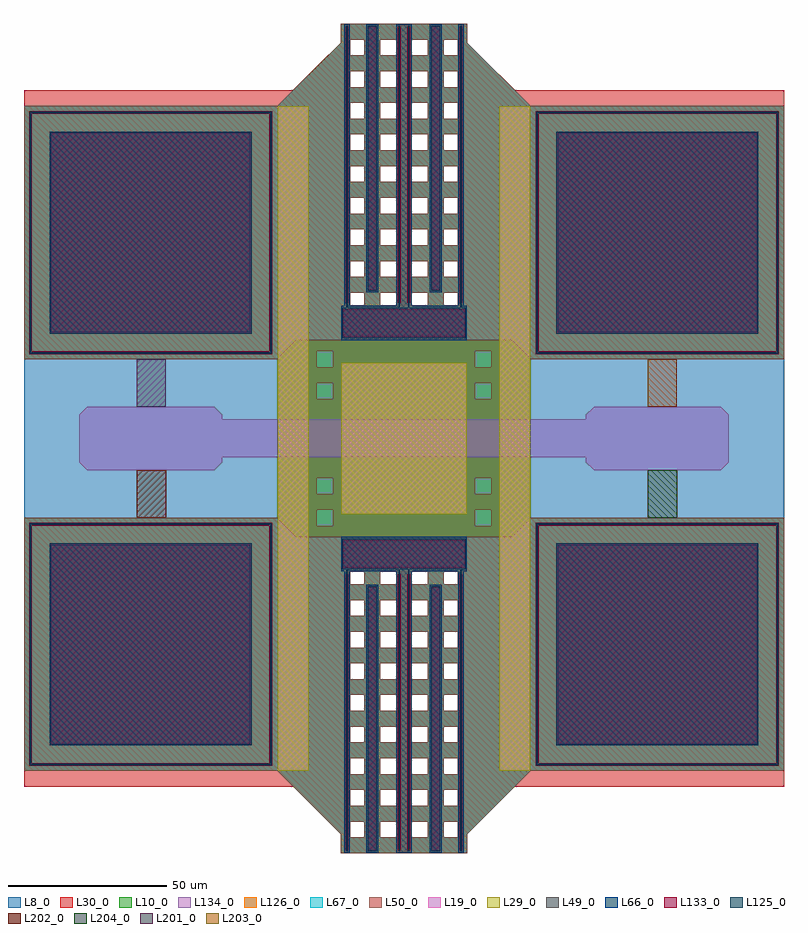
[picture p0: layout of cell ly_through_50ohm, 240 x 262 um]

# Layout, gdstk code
import gdstk
lib = gdstk.Library(unit=1e-6, precision=1e-09)
def R(c, l, rs):  # rectangles x0, y0, x1, y1
    for r in rs: c.add(gdstk.rectangle(r[:2], r[2:], *l))
def P(c, l, *ps):  # polygons
    for p in ps: c.add(gdstk.Polygon(p, *l))
L8_0 = (8, 0)
L10_0 = (10, 0)
L19_0 = (19, 0)
L29_0 = (29, 0)
L30_0 = (30, 0)
L49_0 = (49, 0)
L50_0 = (50, 0)
L66_0 = (66, 0)
L67_0 = (67, 0)
L125_0 = (125, 0)
L126_0 = (126, 0)
L133_0 = (133, 0)
L134_0 = (134, 0)
L201_0 = (201, 0)
L202_0 = (202, 0)
L203_0 = (203, 0)
L204_0 = (204, 0)

ly_through_50ohm = lib.new_cell('ly_through_50ohm')
P(ly_through_50ohm, L8_0, [(60,-131),(60,-125),(40,-105),(-40,-105),(-40,105),(40,105),(60,125),(60,131),(63,131),(63,-126),(67.5,-126),(67.5,-121),(63,-121),(63,-116),(67.5,-116),(67.5,-111),(63,-111),(63,-106),(67.5,-106),(67.5,-101),(63,-101),(63,-96),(67.5,-96),(67.5,-91),(63,-91),(63,-86),(67.5,-86),(67.5,-81),(63,-81),(63,-76),(67.5,-76),(67.5,-71),(63,-71),(63,-66),(67.5,-66),(67.5,-61),(63,-61),(63,-56),(67.5,-56),(67.5,-51),(63,-51),(63,-46),(67.5,-46),(67.5,-42),(63,-42),(63,42),(67.5,42),(67.5,46),(63,46),(63,51),(67.5,51),(67.5,56),(63,56),(63,61),(67.5,61),(67.5,66),(63,66),(63,71),(67.5,71),(67.5,76),(63,76),(63,81),(67.5,81),(67.5,86),(63,86),(63,91),(67.5,91),(67.5,96),(63,96),(63,101),(67.5,101),(67.5,106),(63,106),(63,111),(67.5,111),(67.5,116),(63,116),(63,121),(67.5,121),(67.5,126),(63,126),(63,131),(72.5,131),(72.5,-126),(77.5,-126),(77.5,-121),(72.5,-121),(72.5,-116),(77.5,-116),(77.5,-111),(72.5,-111),(72.5,-106),(77.5,-106),(77.5,-101),(72.5,-101),(72.5,-96),(77.5,-96),(77.5,-91),(72.5,-91),(72.5,-86),(77.5,-86),(77.5,-81),(72.5,-81),(72.5,-76),(77.5,-76),(77.5,-71),(72.5,-71),(72.5,-66),(77.5,-66),(77.5,-61),(72.5,-61),(72.5,-56),(77.5,-56),(77.5,-51),(72.5,-51),(72.5,-46),(77.5,-46),(77.5,-42),(72.5,-42),(72.5,42),(77.5,42),(77.5,46),(72.5,46),(72.5,51),(77.5,51),(77.5,56),(72.5,56),(72.5,61),(77.5,61),(77.5,66),(72.5,66),(72.5,71),(77.5,71),(77.5,76),(72.5,76),(72.5,81),(77.5,81),(77.5,86),(72.5,86),(72.5,91),(77.5,91),(77.5,96),(72.5,96),(72.5,101),(77.5,101),(77.5,106),(72.5,106),(72.5,111),(77.5,111),(77.5,116),(72.5,116),(72.5,121),(77.5,121),(77.5,126),(72.5,126),(72.5,131),(82.5,131),(82.5,-126),(87.5,-126),(87.5,-121),(82.5,-121),(82.5,-116),(87.5,-116),(87.5,-111),(82.5,-111),(82.5,-106),(87.5,-106),(87.5,-101),(82.5,-101),(82.5,-96),(87.5,-96),(87.5,-91),(82.5,-91),(82.5,-86),(87.5,-86),(87.5,-81),(82.5,-81),(82.5,-76),(87.5,-76),(87.5,-71),(82.5,-71),(82.5,-66),(87.5,-66),(87.5,-61),(82.5,-61),(82.5,-56),(87.5,-56),(87.5,-51),(82.5,-51),(82.5,-46),(87.5,-46),(87.5,-42),(82.5,-42),(82.5,42),(87.5,42),(87.5,46),(82.5,46),(82.5,51),(87.5,51),(87.5,56),(82.5,56),(82.5,61),(87.5,61),(87.5,66),(82.5,66),(82.5,71),(87.5,71),(87.5,76),(82.5,76),(82.5,81),(87.5,81),(87.5,86),(82.5,86),(82.5,91),(87.5,91),(87.5,96),(82.5,96),(82.5,101),(87.5,101),(87.5,106),(82.5,106),(82.5,111),(87.5,111),(87.5,116),(82.5,116),(82.5,121),(87.5,121),(87.5,126),(82.5,126),(82.5,131),(92.5,131),(92.5,-126),(97,-126),(97,-121),(92.5,-121),(92.5,-116),(97,-116),(97,-111),(92.5,-111),(92.5,-106),(97,-106),(97,-101),(92.5,-101),(92.5,-96),(97,-96),(97,-91),(92.5,-91),(92.5,-86),(97,-86),(97,-81),(92.5,-81),(92.5,-76),(97,-76),(97,-71),(92.5,-71),(92.5,-66),(97,-66),(97,-61),(92.5,-61),(92.5,-56),(97,-56),(97,-51),(92.5,-51),(92.5,-46),(97,-46),(97,-42),(92.5,-42),(92.5,42),(97,42),(97,46),(92.5,46),(92.5,51),(97,51),(97,56),(92.5,56),(92.5,61),(97,61),(97,66),(92.5,66),(92.5,71),(97,71),(97,76),(92.5,76),(92.5,81),(97,81),(97,86),(92.5,86),(92.5,91),(97,91),(97,96),(92.5,96),(92.5,101),(97,101),(97,106),(92.5,106),(92.5,111),(97,111),(97,116),(92.5,116),(92.5,121),(97,121),(97,126),(92.5,126),(92.5,131),(100,131),(100,125),(120,105),(200,105),(200,-105),(120,-105),(100,-125),(100,-131)])
P(ly_through_50ohm, L10_0, [(60,-131),(60,-125),(40,-105),(-40,-105),(-40,-25),(40,-25),(40,25),(-40,25),(-40,105),(40,105),(60,125),(60,131),(63,131),(63,-126),(67.5,-126),(67.5,-121),(63,-121),(63,-116),(67.5,-116),(67.5,-111),(63,-111),(63,-106),(67.5,-106),(67.5,-101),(63,-101),(63,-96),(67.5,-96),(67.5,-91),(63,-91),(63,-86),(67.5,-86),(67.5,-81),(63,-81),(63,-76),(67.5,-76),(67.5,-71),(63,-71),(63,-66),(67.5,-66),(67.5,-61),(63,-61),(63,-56),(67.5,-56),(67.5,-51),(63,-51),(63,-46),(67.5,-46),(67.5,-42),(63,-42),(63,42),(67.5,42),(67.5,46),(63,46),(63,51),(67.5,51),(67.5,56),(63,56),(63,61),(67.5,61),(67.5,66),(63,66),(63,71),(67.5,71),(67.5,76),(63,76),(63,81),(67.5,81),(67.5,86),(63,86),(63,91),(67.5,91),(67.5,96),(63,96),(63,101),(67.5,101),(67.5,106),(63,106),(63,111),(67.5,111),(67.5,116),(63,116),(63,121),(67.5,121),(67.5,126),(63,126),(63,131),(72.5,131),(72.5,-126),(77.5,-126),(77.5,-121),(72.5,-121),(72.5,-116),(77.5,-116),(77.5,-111),(72.5,-111),(72.5,-106),(77.5,-106),(77.5,-101),(72.5,-101),(72.5,-96),(77.5,-96),(77.5,-91),(72.5,-91),(72.5,-86),(77.5,-86),(77.5,-81),(72.5,-81),(72.5,-76),(77.5,-76),(77.5,-71),(72.5,-71),(72.5,-66),(77.5,-66),(77.5,-61),(72.5,-61),(72.5,-56),(77.5,-56),(77.5,-51),(72.5,-51),(72.5,-46),(77.5,-46),(77.5,-42),(72.5,-42),(72.5,42),(77.5,42),(77.5,46),(72.5,46),(72.5,51),(77.5,51),(77.5,56),(72.5,56),(72.5,61),(77.5,61),(77.5,66),(72.5,66),(72.5,71),(77.5,71),(77.5,76),(72.5,76),(72.5,81),(77.5,81),(77.5,86),(72.5,86),(72.5,91),(77.5,91),(77.5,96),(72.5,96),(72.5,101),(77.5,101),(77.5,106),(72.5,106),(72.5,111),(77.5,111),(77.5,116),(72.5,116),(72.5,121),(77.5,121),(77.5,126),(72.5,126),(72.5,131),(82.5,131),(82.5,-126),(87.5,-126),(87.5,-121),(82.5,-121),(82.5,-116),(87.5,-116),(87.5,-111),(82.5,-111),(82.5,-106),(87.5,-106),(87.5,-101),(82.5,-101),(82.5,-96),(87.5,-96),(87.5,-91),(82.5,-91),(82.5,-86),(87.5,-86),(87.5,-81),(82.5,-81),(82.5,-76),(87.5,-76),(87.5,-71),(82.5,-71),(82.5,-66),(87.5,-66),(87.5,-61),(82.5,-61),(82.5,-56),(87.5,-56),(87.5,-51),(82.5,-51),(82.5,-46),(87.5,-46),(87.5,-42),(82.5,-42),(82.5,42),(87.5,42),(87.5,46),(82.5,46),(82.5,51),(87.5,51),(87.5,56),(82.5,56),(82.5,61),(87.5,61),(87.5,66),(82.5,66),(82.5,71),(87.5,71),(87.5,76),(82.5,76),(82.5,81),(87.5,81),(87.5,86),(82.5,86),(82.5,91),(87.5,91),(87.5,96),(82.5,96),(82.5,101),(87.5,101),(87.5,106),(82.5,106),(82.5,111),(87.5,111),(87.5,116),(82.5,116),(82.5,121),(87.5,121),(87.5,126),(82.5,126),(82.5,131),(92.5,131),(92.5,-126),(97,-126),(97,-121),(92.5,-121),(92.5,-116),(97,-116),(97,-111),(92.5,-111),(92.5,-106),(97,-106),(97,-101),(92.5,-101),(92.5,-96),(97,-96),(97,-91),(92.5,-91),(92.5,-86),(97,-86),(97,-81),(92.5,-81),(92.5,-76),(97,-76),(97,-71),(92.5,-71),(92.5,-66),(97,-66),(97,-61),(92.5,-61),(92.5,-56),(97,-56),(97,-51),(92.5,-51),(92.5,-46),(97,-46),(97,-42),(92.5,-42),(92.5,42),(97,42),(97,46),(92.5,46),(92.5,51),(97,51),(97,56),(92.5,56),(92.5,61),(97,61),(97,66),(92.5,66),(92.5,71),(97,71),(97,76),(92.5,76),(92.5,81),(97,81),(97,86),(92.5,86),(92.5,91),(97,91),(97,96),(92.5,96),(92.5,101),(97,101),(97,106),(92.5,106),(92.5,111),(97,111),(97,116),(92.5,116),(92.5,121),(97,121),(97,126),(92.5,126),(92.5,131),(100,131),(100,125),(120,105),(200,105),(200,25),(120,25),(120,-25),(200,-25),(200,-105),(120,-105),(100,-125),(100,-131)])
R(ly_through_50ohm, L19_0, [(68.06,-130.845,71.94,-46.155), (88.06,-130.845,91.94,-46.155), (40.155,-104.85,49.845,104.85), (110.155,-104.85,119.845,104.85), (-31.93,-96.93,31.93,-33.07), (128.07,-96.93,191.93,-33.07), (60.155,-23.875,99.845,23.875), (-31.93,33.07,31.93,96.93), (128.07,33.07,191.93,96.93), (68.06,46.155,71.94,130.845), (88.06,46.155,91.94,130.845)])
P(ly_through_50ohm, L19_0, [(121.94,26.94),(121.94,103.06),(122.13,103.06),(122.13,27.13),(197.87,27.13),(197.87,102.87),(122.13,102.87),(122.13,103.06),(198.06,103.06),(198.06,26.94)],
  [(121.94,-103.06),(121.94,-26.94),(122.13,-26.94),(122.13,-102.87),(197.87,-102.87),(197.87,-27.13),(122.13,-27.13),(122.13,-26.94),(198.06,-26.94),(198.06,-103.06)],
  [(60.155,31.075),(60.155,41.925),(61.085,41.925),(61.085,130.845),(62.915,130.845),(62.915,41.925),(77.585,41.925),(77.585,130.845),(82.415,130.845),(82.415,41.925),(97.085,41.925),(97.085,130.845),(98.915,130.845),(98.915,41.925),(99.845,41.925),(99.845,31.075)],
  [(61.085,-130.845),(61.085,-41.925),(60.155,-41.925),(60.155,-31.075),(99.845,-31.075),(99.845,-41.925),(98.915,-41.925),(98.915,-130.845),(97.085,-130.845),(97.085,-41.925),(82.415,-41.925),(82.415,-130.845),(77.585,-130.845),(77.585,-41.925),(62.915,-41.925),(62.915,-130.845)],
  [(-38.06,26.94),(-38.06,103.06),(-37.87,103.06),(-37.87,27.13),(37.87,27.13),(37.87,102.87),(-37.87,102.87),(-37.87,103.06),(38.06,103.06),(38.06,26.94)],
  [(-38.06,-103.06),(-38.06,-26.94),(-37.87,-26.94),(-37.87,-102.87),(37.87,-102.87),(37.87,-27.13),(-37.87,-27.13),(-37.87,-26.94),(38.06,-26.94),(38.06,-103.06)])
R(ly_through_50ohm, L29_0, [(68.06,-130.845,71.94,-46.155), (88.06,-130.845,91.94,-46.155), (40.155,-104.85,49.845,104.85), (110.155,-104.85,119.845,104.85), (-31.49,-96.49,31.49,-33.51), (128.51,-96.49,191.49,-33.51), (60.155,-23.875,99.845,23.875), (-31.49,33.51,31.49,96.49), (128.51,33.51,191.49,96.49), (68.06,46.155,71.94,130.845), (88.06,46.155,91.94,130.845)])
P(ly_through_50ohm, L29_0, [(121.94,26.94),(121.94,103.06),(122.13,103.06),(122.13,27.13),(197.87,27.13),(197.87,102.87),(122.13,102.87),(122.13,103.06),(198.06,103.06),(198.06,26.94)],
  [(121.94,-103.06),(121.94,-26.94),(122.13,-26.94),(122.13,-102.87),(197.87,-102.87),(197.87,-27.13),(122.13,-27.13),(122.13,-26.94),(198.06,-26.94),(198.06,-103.06)],
  [(60.155,31.075),(60.155,41.925),(61.085,41.925),(61.085,130.845),(62.915,130.845),(62.915,41.925),(77.585,41.925),(77.585,130.845),(82.415,130.845),(82.415,41.925),(97.085,41.925),(97.085,130.845),(98.915,130.845),(98.915,41.925),(99.845,41.925),(99.845,31.075)],
  [(61.085,-130.845),(61.085,-41.925),(60.155,-41.925),(60.155,-31.075),(99.845,-31.075),(99.845,-41.925),(98.915,-41.925),(98.915,-130.845),(97.085,-130.845),(97.085,-41.925),(82.415,-41.925),(82.415,-130.845),(77.585,-130.845),(77.585,-41.925),(62.915,-41.925),(62.915,-130.845)],
  [(-38.06,26.94),(-38.06,103.06),(-37.87,103.06),(-37.87,27.13),(37.87,27.13),(37.87,102.87),(-37.87,102.87),(-37.87,103.06),(38.06,103.06),(38.06,26.94)],
  [(-38.06,-103.06),(-38.06,-26.94),(-37.87,-26.94),(-37.87,-102.87),(37.87,-102.87),(37.87,-27.13),(-37.87,-27.13),(-37.87,-26.94),(38.06,-26.94),(38.06,-103.06)])
P(ly_through_50ohm, L30_0, [(60,-131),(60,-125),(45,-110),(-40,-110),(-40,-25),(40,-25),(40,25),(-40,25),(-40,110),(45,110),(52.5,117.5),(52.5,-27.5),(57.5,-27.5),(57.5,-22.5),(52.5,-22.5),(52.5,-17.5),(57.5,-17.5),(57.5,-12.5),(52.5,-12.5),(52.5,12.5),(57.5,12.5),(57.5,17.5),(52.5,17.5),(52.5,22.5),(57.5,22.5),(57.5,27.5),(52.5,27.5),(52.5,117.5),(60,125),(60,131),(63,131),(63,-126),(67.5,-126),(67.5,-121),(63,-121),(63,-116),(67.5,-116),(67.5,-111),(63,-111),(63,-106),(67.5,-106),(67.5,-101),(63,-101),(63,-96),(67.5,-96),(67.5,-91),(63,-91),(63,-86),(67.5,-86),(67.5,-81),(63,-81),(63,-76),(67.5,-76),(67.5,-71),(63,-71),(63,-66),(67.5,-66),(67.5,-61),(63,-61),(63,-56),(67.5,-56),(67.5,-51),(63,-51),(63,-46),(67.5,-46),(67.5,-42),(63,-42),(63,42),(67.5,42),(67.5,46),(63,46),(63,51),(67.5,51),(67.5,56),(63,56),(63,61),(67.5,61),(67.5,66),(63,66),(63,71),(67.5,71),(67.5,76),(63,76),(63,81),(67.5,81),(67.5,86),(63,86),(63,91),(67.5,91),(67.5,96),(63,96),(63,101),(67.5,101),(67.5,106),(63,106),(63,111),(67.5,111),(67.5,116),(63,116),(63,121),(67.5,121),(67.5,126),(63,126),(63,131),(72.5,131),(72.5,-126),(77.5,-126),(77.5,-121),(72.5,-121),(72.5,-116),(77.5,-116),(77.5,-111),(72.5,-111),(72.5,-106),(77.5,-106),(77.5,-101),(72.5,-101),(72.5,-96),(77.5,-96),(77.5,-91),(72.5,-91),(72.5,-86),(77.5,-86),(77.5,-81),(72.5,-81),(72.5,-76),(77.5,-76),(77.5,-71),(72.5,-71),(72.5,-66),(77.5,-66),(77.5,-61),(72.5,-61),(72.5,-56),(77.5,-56),(77.5,-51),(72.5,-51),(72.5,-46),(77.5,-46),(77.5,-42),(72.5,-42),(72.5,42),(77.5,42),(77.5,46),(72.5,46),(72.5,51),(77.5,51),(77.5,56),(72.5,56),(72.5,61),(77.5,61),(77.5,66),(72.5,66),(72.5,71),(77.5,71),(77.5,76),(72.5,76),(72.5,81),(77.5,81),(77.5,86),(72.5,86),(72.5,91),(77.5,91),(77.5,96),(72.5,96),(72.5,101),(77.5,101),(77.5,106),(72.5,106),(72.5,111),(77.5,111),(77.5,116),(72.5,116),(72.5,121),(77.5,121),(77.5,126),(72.5,126),(72.5,131),(82.5,131),(82.5,-126),(87.5,-126),(87.5,-121),(82.5,-121),(82.5,-116),(87.5,-116),(87.5,-111),(82.5,-111),(82.5,-106),(87.5,-106),(87.5,-101),(82.5,-101),(82.5,-96),(87.5,-96),(87.5,-91),(82.5,-91),(82.5,-86),(87.5,-86),(87.5,-81),(82.5,-81),(82.5,-76),(87.5,-76),(87.5,-71),(82.5,-71),(82.5,-66),(87.5,-66),(87.5,-61),(82.5,-61),(82.5,-56),(87.5,-56),(87.5,-51),(82.5,-51),(82.5,-46),(87.5,-46),(87.5,-42),(82.5,-42),(82.5,42),(87.5,42),(87.5,46),(82.5,46),(82.5,51),(87.5,51),(87.5,56),(82.5,56),(82.5,61),(87.5,61),(87.5,66),(82.5,66),(82.5,71),(87.5,71),(87.5,76),(82.5,76),(82.5,81),(87.5,81),(87.5,86),(82.5,86),(82.5,91),(87.5,91),(87.5,96),(82.5,96),(82.5,101),(87.5,101),(87.5,106),(82.5,106),(82.5,111),(87.5,111),(87.5,116),(82.5,116),(82.5,121),(87.5,121),(87.5,126),(82.5,126),(82.5,131),(92.5,131),(92.5,-126),(97,-126),(97,-121),(92.5,-121),(92.5,-116),(97,-116),(97,-111),(92.5,-111),(92.5,-106),(97,-106),(97,-101),(92.5,-101),(92.5,-96),(97,-96),(97,-91),(92.5,-91),(92.5,-86),(97,-86),(97,-81),(92.5,-81),(92.5,-76),(97,-76),(97,-71),(92.5,-71),(92.5,-66),(97,-66),(97,-61),(92.5,-61),(92.5,-56),(97,-56),(97,-51),(92.5,-51),(92.5,-46),(97,-46),(97,-42),(92.5,-42),(92.5,42),(97,42),(97,46),(92.5,46),(92.5,51),(97,51),(97,56),(92.5,56),(92.5,61),(97,61),(97,66),(92.5,66),(92.5,71),(97,71),(97,76),(92.5,76),(92.5,81),(97,81),(97,86),(92.5,86),(92.5,91),(97,91),(97,96),(92.5,96),(92.5,101),(97,101),(97,106),(92.5,106),(92.5,111),(97,111),(97,116),(92.5,116),(92.5,121),(97,121),(97,126),(92.5,126),(92.5,131),(100,131),(100,125),(102.5,122.5),(102.5,-27.5),(107.5,-27.5),(107.5,-22.5),(102.5,-22.5),(102.5,-17.5),(107.5,-17.5),(107.5,-12.5),(102.5,-12.5),(102.5,12.5),(107.5,12.5),(107.5,17.5),(102.5,17.5),(102.5,22.5),(107.5,22.5),(107.5,27.5),(102.5,27.5),(102.5,122.5),(115,110),(200,110),(200,25),(120,25),(120,-25),(200,-25),(200,-110),(115,-110),(100,-125),(100,-131)])
R(ly_through_50ohm, L49_0, [(68.06,-130.845,71.94,-46.155), (88.06,-130.845,91.94,-46.155), (-31.93,-96.93,31.93,-33.07), (128.07,-96.93,191.93,-33.07), (-31.93,33.07,31.93,96.93), (128.07,33.07,191.93,96.93), (68.06,46.155,71.94,130.845), (88.06,46.155,91.94,130.845)])
P(ly_through_50ohm, L49_0, [(121.94,26.94),(121.94,103.06),(122.13,103.06),(122.13,27.13),(197.87,27.13),(197.87,102.87),(122.13,102.87),(122.13,103.06),(198.06,103.06),(198.06,26.94)],
  [(121.94,-103.06),(121.94,-26.94),(122.13,-26.94),(122.13,-102.87),(197.87,-102.87),(197.87,-27.13),(122.13,-27.13),(122.13,-26.94),(198.06,-26.94),(198.06,-103.06)],
  [(60.155,31.075),(60.155,41.925),(61.085,41.925),(61.085,130.845),(62.915,130.845),(62.915,41.925),(77.585,41.925),(77.585,130.845),(82.415,130.845),(82.415,41.925),(97.085,41.925),(97.085,130.845),(98.915,130.845),(98.915,41.925),(99.845,41.925),(99.845,31.075)],
  [(61.085,-130.845),(61.085,-41.925),(60.155,-41.925),(60.155,-31.075),(99.845,-31.075),(99.845,-41.925),(98.915,-41.925),(98.915,-130.845),(97.085,-130.845),(97.085,-41.925),(82.415,-41.925),(82.415,-130.845),(77.585,-130.845),(77.585,-41.925),(62.915,-41.925),(62.915,-130.845)],
  [(-38.06,26.94),(-38.06,103.06),(-37.87,103.06),(-37.87,27.13),(37.87,27.13),(37.87,102.87),(-37.87,102.87),(-37.87,103.06),(38.06,103.06),(38.06,26.94)],
  [(-38.06,-103.06),(-38.06,-26.94),(-37.87,-26.94),(-37.87,-102.87),(37.87,-102.87),(37.87,-27.13),(-37.87,-27.13),(-37.87,-26.94),(38.06,-26.94),(38.06,-103.06)])
P(ly_through_50ohm, L50_0, [(-40,25),(-40,105),(40,105),(60,125),(60,131),(63,131),(63,42),(67.5,42),(67.5,46),(63,46),(63,51),(67.5,51),(67.5,56),(63,56),(63,61),(67.5,61),(67.5,66),(63,66),(63,71),(67.5,71),(67.5,76),(63,76),(63,81),(67.5,81),(67.5,86),(63,86),(63,91),(67.5,91),(67.5,96),(63,96),(63,101),(67.5,101),(67.5,106),(63,106),(63,111),(67.5,111),(67.5,116),(63,116),(63,121),(67.5,121),(67.5,126),(63,126),(63,131),(72.5,131),(72.5,42),(77.5,42),(77.5,46),(72.5,46),(72.5,51),(77.5,51),(77.5,56),(72.5,56),(72.5,61),(77.5,61),(77.5,66),(72.5,66),(72.5,71),(77.5,71),(77.5,76),(72.5,76),(72.5,81),(77.5,81),(77.5,86),(72.5,86),(72.5,91),(77.5,91),(77.5,96),(72.5,96),(72.5,101),(77.5,101),(77.5,106),(72.5,106),(72.5,111),(77.5,111),(77.5,116),(72.5,116),(72.5,121),(77.5,121),(77.5,126),(72.5,126),(72.5,131),(82.5,131),(82.5,42),(87.5,42),(87.5,46),(82.5,46),(82.5,51),(87.5,51),(87.5,56),(82.5,56),(82.5,61),(87.5,61),(87.5,66),(82.5,66),(82.5,71),(87.5,71),(87.5,76),(82.5,76),(82.5,81),(87.5,81),(87.5,86),(82.5,86),(82.5,91),(87.5,91),(87.5,96),(82.5,96),(82.5,101),(87.5,101),(87.5,106),(82.5,106),(82.5,111),(87.5,111),(87.5,116),(82.5,116),(82.5,121),(87.5,121),(87.5,126),(82.5,126),(82.5,131),(92.5,131),(92.5,42),(97,42),(97,46),(92.5,46),(92.5,51),(97,51),(97,56),(92.5,56),(92.5,61),(97,61),(97,66),(92.5,66),(92.5,71),(97,71),(97,76),(92.5,76),(92.5,81),(97,81),(97,86),(92.5,86),(92.5,91),(97,91),(97,96),(92.5,96),(92.5,101),(97,101),(97,106),(92.5,106),(92.5,111),(97,111),(97,116),(92.5,116),(92.5,121),(97,121),(97,126),(92.5,126),(92.5,131),(100,131),(100,125),(120,105),(200,105),(200,25),(120,25),(114,31),(46,31),(40,25)],
  [(60,-131),(60,-125),(40,-105),(-40,-105),(-40,-25),(40,-25),(46,-31),(63,-31),(63,-126),(67.5,-126),(67.5,-121),(63,-121),(63,-116),(67.5,-116),(67.5,-111),(63,-111),(63,-106),(67.5,-106),(67.5,-101),(63,-101),(63,-96),(67.5,-96),(67.5,-91),(63,-91),(63,-86),(67.5,-86),(67.5,-81),(63,-81),(63,-76),(67.5,-76),(67.5,-71),(63,-71),(63,-66),(67.5,-66),(67.5,-61),(63,-61),(63,-56),(67.5,-56),(67.5,-51),(63,-51),(63,-46),(67.5,-46),(67.5,-42),(63,-42),(63,-31),(72.5,-31),(72.5,-126),(77.5,-126),(77.5,-121),(72.5,-121),(72.5,-116),(77.5,-116),(77.5,-111),(72.5,-111),(72.5,-106),(77.5,-106),(77.5,-101),(72.5,-101),(72.5,-96),(77.5,-96),(77.5,-91),(72.5,-91),(72.5,-86),(77.5,-86),(77.5,-81),(72.5,-81),(72.5,-76),(77.5,-76),(77.5,-71),(72.5,-71),(72.5,-66),(77.5,-66),(77.5,-61),(72.5,-61),(72.5,-56),(77.5,-56),(77.5,-51),(72.5,-51),(72.5,-46),(77.5,-46),(77.5,-42),(72.5,-42),(72.5,-31),(82.5,-31),(82.5,-126),(87.5,-126),(87.5,-121),(82.5,-121),(82.5,-116),(87.5,-116),(87.5,-111),(82.5,-111),(82.5,-106),(87.5,-106),(87.5,-101),(82.5,-101),(82.5,-96),(87.5,-96),(87.5,-91),(82.5,-91),(82.5,-86),(87.5,-86),(87.5,-81),(82.5,-81),(82.5,-76),(87.5,-76),(87.5,-71),(82.5,-71),(82.5,-66),(87.5,-66),(87.5,-61),(82.5,-61),(82.5,-56),(87.5,-56),(87.5,-51),(82.5,-51),(82.5,-46),(87.5,-46),(87.5,-42),(82.5,-42),(82.5,-31),(92.5,-31),(92.5,-126),(97,-126),(97,-121),(92.5,-121),(92.5,-116),(97,-116),(97,-111),(92.5,-111),(92.5,-106),(97,-106),(97,-101),(92.5,-101),(92.5,-96),(97,-96),(97,-91),(92.5,-91),(92.5,-86),(97,-86),(97,-81),(92.5,-81),(92.5,-76),(97,-76),(97,-71),(92.5,-71),(92.5,-66),(97,-66),(97,-61),(92.5,-61),(92.5,-56),(97,-56),(97,-51),(92.5,-51),(92.5,-46),(97,-46),(97,-42),(92.5,-42),(92.5,-31),(114,-31),(120,-25),(200,-25),(200,-105),(120,-105),(100,-125),(100,-131)])
R(ly_through_50ohm, L66_0, [(68.06,-130.845,71.94,-46.155), (88.06,-130.845,91.94,-46.155), (-31.49,-96.49,31.49,-33.51), (128.51,-96.49,191.49,-33.51), (-31.49,33.51,31.49,96.49), (128.51,33.51,191.49,96.49), (68.06,46.155,71.94,130.845), (88.06,46.155,91.94,130.845)])
P(ly_through_50ohm, L66_0, [(121.94,26.94),(121.94,103.06),(122.13,103.06),(122.13,27.13),(197.87,27.13),(197.87,102.87),(122.13,102.87),(122.13,103.06),(198.06,103.06),(198.06,26.94)],
  [(121.94,-103.06),(121.94,-26.94),(122.13,-26.94),(122.13,-102.87),(197.87,-102.87),(197.87,-27.13),(122.13,-27.13),(122.13,-26.94),(198.06,-26.94),(198.06,-103.06)],
  [(60.155,31.075),(60.155,41.925),(61.085,41.925),(61.085,130.845),(62.915,130.845),(62.915,41.925),(77.585,41.925),(77.585,130.845),(82.415,130.845),(82.415,41.925),(97.085,41.925),(97.085,130.845),(98.915,130.845),(98.915,41.925),(99.845,41.925),(99.845,31.075)],
  [(61.085,-130.845),(61.085,-41.925),(60.155,-41.925),(60.155,-31.075),(99.845,-31.075),(99.845,-41.925),(98.915,-41.925),(98.915,-130.845),(97.085,-130.845),(97.085,-41.925),(82.415,-41.925),(82.415,-130.845),(77.585,-130.845),(77.585,-41.925),(62.915,-41.925),(62.915,-130.845)],
  [(-38.06,26.94),(-38.06,103.06),(-37.87,103.06),(-37.87,27.13),(37.87,27.13),(37.87,102.87),(-37.87,102.87),(-37.87,103.06),(38.06,103.06),(38.06,26.94)],
  [(-38.06,-103.06),(-38.06,-26.94),(-37.87,-26.94),(-37.87,-102.87),(37.87,-102.87),(37.87,-27.13),(-37.87,-27.13),(-37.87,-26.94),(38.06,-26.94),(38.06,-103.06)])
P(ly_through_50ohm, L67_0, [(-40,25),(-40,105),(40,105),(60,125),(60,131),(63,131),(63,42),(67.5,42),(67.5,46),(63,46),(63,51),(67.5,51),(67.5,56),(63,56),(63,61),(67.5,61),(67.5,66),(63,66),(63,71),(67.5,71),(67.5,76),(63,76),(63,81),(67.5,81),(67.5,86),(63,86),(63,91),(67.5,91),(67.5,96),(63,96),(63,101),(67.5,101),(67.5,106),(63,106),(63,111),(67.5,111),(67.5,116),(63,116),(63,121),(67.5,121),(67.5,126),(63,126),(63,131),(72.5,131),(72.5,42),(77.5,42),(77.5,46),(72.5,46),(72.5,51),(77.5,51),(77.5,56),(72.5,56),(72.5,61),(77.5,61),(77.5,66),(72.5,66),(72.5,71),(77.5,71),(77.5,76),(72.5,76),(72.5,81),(77.5,81),(77.5,86),(72.5,86),(72.5,91),(77.5,91),(77.5,96),(72.5,96),(72.5,101),(77.5,101),(77.5,106),(72.5,106),(72.5,111),(77.5,111),(77.5,116),(72.5,116),(72.5,121),(77.5,121),(77.5,126),(72.5,126),(72.5,131),(82.5,131),(82.5,42),(87.5,42),(87.5,46),(82.5,46),(82.5,51),(87.5,51),(87.5,56),(82.5,56),(82.5,61),(87.5,61),(87.5,66),(82.5,66),(82.5,71),(87.5,71),(87.5,76),(82.5,76),(82.5,81),(87.5,81),(87.5,86),(82.5,86),(82.5,91),(87.5,91),(87.5,96),(82.5,96),(82.5,101),(87.5,101),(87.5,106),(82.5,106),(82.5,111),(87.5,111),(87.5,116),(82.5,116),(82.5,121),(87.5,121),(87.5,126),(82.5,126),(82.5,131),(92.5,131),(92.5,42),(97,42),(97,46),(92.5,46),(92.5,51),(97,51),(97,56),(92.5,56),(92.5,61),(97,61),(97,66),(92.5,66),(92.5,71),(97,71),(97,76),(92.5,76),(92.5,81),(97,81),(97,86),(92.5,86),(92.5,91),(97,91),(97,96),(92.5,96),(92.5,101),(97,101),(97,106),(92.5,106),(92.5,111),(97,111),(97,116),(92.5,116),(92.5,121),(97,121),(97,126),(92.5,126),(92.5,131),(100,131),(100,125),(120,105),(200,105),(200,25),(120,25),(114,31),(46,31),(40,25)],
  [(60,-131),(60,-125),(40,-105),(-40,-105),(-40,-25),(40,-25),(46,-31),(63,-31),(63,-126),(67.5,-126),(67.5,-121),(63,-121),(63,-116),(67.5,-116),(67.5,-111),(63,-111),(63,-106),(67.5,-106),(67.5,-101),(63,-101),(63,-96),(67.5,-96),(67.5,-91),(63,-91),(63,-86),(67.5,-86),(67.5,-81),(63,-81),(63,-76),(67.5,-76),(67.5,-71),(63,-71),(63,-66),(67.5,-66),(67.5,-61),(63,-61),(63,-56),(67.5,-56),(67.5,-51),(63,-51),(63,-46),(67.5,-46),(67.5,-42),(63,-42),(63,-31),(72.5,-31),(72.5,-126),(77.5,-126),(77.5,-121),(72.5,-121),(72.5,-116),(77.5,-116),(77.5,-111),(72.5,-111),(72.5,-106),(77.5,-106),(77.5,-101),(72.5,-101),(72.5,-96),(77.5,-96),(77.5,-91),(72.5,-91),(72.5,-86),(77.5,-86),(77.5,-81),(72.5,-81),(72.5,-76),(77.5,-76),(77.5,-71),(72.5,-71),(72.5,-66),(77.5,-66),(77.5,-61),(72.5,-61),(72.5,-56),(77.5,-56),(77.5,-51),(72.5,-51),(72.5,-46),(77.5,-46),(77.5,-42),(72.5,-42),(72.5,-31),(82.5,-31),(82.5,-126),(87.5,-126),(87.5,-121),(82.5,-121),(82.5,-116),(87.5,-116),(87.5,-111),(82.5,-111),(82.5,-106),(87.5,-106),(87.5,-101),(82.5,-101),(82.5,-96),(87.5,-96),(87.5,-91),(82.5,-91),(82.5,-86),(87.5,-86),(87.5,-81),(82.5,-81),(82.5,-76),(87.5,-76),(87.5,-71),(82.5,-71),(82.5,-66),(87.5,-66),(87.5,-61),(82.5,-61),(82.5,-56),(87.5,-56),(87.5,-51),(82.5,-51),(82.5,-46),(87.5,-46),(87.5,-42),(82.5,-42),(82.5,-31),(92.5,-31),(92.5,-126),(97,-126),(97,-121),(92.5,-121),(92.5,-116),(97,-116),(97,-111),(92.5,-111),(92.5,-106),(97,-106),(97,-101),(92.5,-101),(92.5,-96),(97,-96),(97,-91),(92.5,-91),(92.5,-86),(97,-86),(97,-81),(92.5,-81),(92.5,-76),(97,-76),(97,-71),(92.5,-71),(92.5,-66),(97,-66),(97,-61),(92.5,-61),(92.5,-56),(97,-56),(97,-51),(92.5,-51),(92.5,-46),(97,-46),(97,-42),(92.5,-42),(92.5,-31),(114,-31),(120,-25),(200,-25),(200,-105),(120,-105),(100,-125),(100,-131)])
R(ly_through_50ohm, L125_0, [(68.53,-130.29,71.47,-46.71), (88.53,-130.29,91.47,-46.71), (-31.93,-96.93,31.93,-33.07), (128.07,-96.93,191.93,-33.07), (-31.93,33.07,31.93,96.93), (128.07,33.07,191.93,96.93), (68.53,46.71,71.47,130.29), (88.53,46.71,91.47,130.29)])
P(ly_through_50ohm, L125_0, [(121.825,26.825),(121.825,103.175),(122.245,103.175),(122.245,27.245),(197.755,27.245),(197.755,102.755),(122.245,102.755),(122.245,103.175),(198.175,103.175),(198.175,26.825)],
  [(121.825,-103.175),(121.825,-26.825),(122.245,-26.825),(122.245,-102.755),(197.755,-102.755),(197.755,-27.245),(122.245,-27.245),(122.245,-26.825),(198.175,-26.825),(198.175,-103.175)],
  [(60.55,31.67),(60.55,41.33),(61.79,41.33),(61.79,130.39),(62.21,130.39),(62.21,41.33),(78.29,41.33),(78.29,130.39),(78.71,130.39),(78.71,41.33),(81.29,41.33),(81.29,130.39),(81.71,130.39),(81.71,41.33),(97.79,41.33),(97.79,130.39),(98.21,130.39),(98.21,41.33),(99.45,41.33),(99.45,31.67)],
  [(61.79,-130.39),(61.79,-41.33),(60.55,-41.33),(60.55,-31.67),(99.45,-31.67),(99.45,-41.33),(98.21,-41.33),(98.21,-130.39),(97.79,-130.39),(97.79,-41.33),(81.71,-41.33),(81.71,-130.39),(81.29,-130.39),(81.29,-41.33),(78.71,-41.33),(78.71,-130.39),(78.29,-130.39),(78.29,-41.33),(62.21,-41.33),(62.21,-130.39)],
  [(-38.175,26.825),(-38.175,103.175),(-37.755,103.175),(-37.755,27.245),(37.755,27.245),(37.755,102.755),(-37.755,102.755),(-37.755,103.175),(38.175,103.175),(38.175,26.825)],
  [(-38.175,-103.175),(-38.175,-26.825),(-37.755,-26.825),(-37.755,-102.755),(37.755,-102.755),(37.755,-27.245),(-37.755,-27.245),(-37.755,-26.825),(38.175,-26.825),(38.175,-103.175)])
P(ly_through_50ohm, L126_0, [(-40,25),(-40,105),(40,105),(60,125),(60,131),(63,131),(63,42),(67.5,42),(67.5,46),(63,46),(63,51),(67.5,51),(67.5,56),(63,56),(63,61),(67.5,61),(67.5,66),(63,66),(63,71),(67.5,71),(67.5,76),(63,76),(63,81),(67.5,81),(67.5,86),(63,86),(63,91),(67.5,91),(67.5,96),(63,96),(63,101),(67.5,101),(67.5,106),(63,106),(63,111),(67.5,111),(67.5,116),(63,116),(63,121),(67.5,121),(67.5,126),(63,126),(63,131),(72.5,131),(72.5,42),(77.5,42),(77.5,46),(72.5,46),(72.5,51),(77.5,51),(77.5,56),(72.5,56),(72.5,61),(77.5,61),(77.5,66),(72.5,66),(72.5,71),(77.5,71),(77.5,76),(72.5,76),(72.5,81),(77.5,81),(77.5,86),(72.5,86),(72.5,91),(77.5,91),(77.5,96),(72.5,96),(72.5,101),(77.5,101),(77.5,106),(72.5,106),(72.5,111),(77.5,111),(77.5,116),(72.5,116),(72.5,121),(77.5,121),(77.5,126),(72.5,126),(72.5,131),(82.5,131),(82.5,42),(87.5,42),(87.5,46),(82.5,46),(82.5,51),(87.5,51),(87.5,56),(82.5,56),(82.5,61),(87.5,61),(87.5,66),(82.5,66),(82.5,71),(87.5,71),(87.5,76),(82.5,76),(82.5,81),(87.5,81),(87.5,86),(82.5,86),(82.5,91),(87.5,91),(87.5,96),(82.5,96),(82.5,101),(87.5,101),(87.5,106),(82.5,106),(82.5,111),(87.5,111),(87.5,116),(82.5,116),(82.5,121),(87.5,121),(87.5,126),(82.5,126),(82.5,131),(92.5,131),(92.5,42),(97,42),(97,46),(92.5,46),(92.5,51),(97,51),(97,56),(92.5,56),(92.5,61),(97,61),(97,66),(92.5,66),(92.5,71),(97,71),(97,76),(92.5,76),(92.5,81),(97,81),(97,86),(92.5,86),(92.5,91),(97,91),(97,96),(92.5,96),(92.5,101),(97,101),(97,106),(92.5,106),(92.5,111),(97,111),(97,116),(92.5,116),(92.5,121),(97,121),(97,126),(92.5,126),(92.5,131),(100,131),(100,125),(120,105),(200,105),(200,25),(120,25),(114,31),(46,31),(40,25)],
  [(60,-131),(60,-125),(40,-105),(-40,-105),(-40,-25),(40,-25),(46,-31),(63,-31),(63,-126),(67.5,-126),(67.5,-121),(63,-121),(63,-116),(67.5,-116),(67.5,-111),(63,-111),(63,-106),(67.5,-106),(67.5,-101),(63,-101),(63,-96),(67.5,-96),(67.5,-91),(63,-91),(63,-86),(67.5,-86),(67.5,-81),(63,-81),(63,-76),(67.5,-76),(67.5,-71),(63,-71),(63,-66),(67.5,-66),(67.5,-61),(63,-61),(63,-56),(67.5,-56),(67.5,-51),(63,-51),(63,-46),(67.5,-46),(67.5,-42),(63,-42),(63,-31),(72.5,-31),(72.5,-126),(77.5,-126),(77.5,-121),(72.5,-121),(72.5,-116),(77.5,-116),(77.5,-111),(72.5,-111),(72.5,-106),(77.5,-106),(77.5,-101),(72.5,-101),(72.5,-96),(77.5,-96),(77.5,-91),(72.5,-91),(72.5,-86),(77.5,-86),(77.5,-81),(72.5,-81),(72.5,-76),(77.5,-76),(77.5,-71),(72.5,-71),(72.5,-66),(77.5,-66),(77.5,-61),(72.5,-61),(72.5,-56),(77.5,-56),(77.5,-51),(72.5,-51),(72.5,-46),(77.5,-46),(77.5,-42),(72.5,-42),(72.5,-31),(82.5,-31),(82.5,-126),(87.5,-126),(87.5,-121),(82.5,-121),(82.5,-116),(87.5,-116),(87.5,-111),(82.5,-111),(82.5,-106),(87.5,-106),(87.5,-101),(82.5,-101),(82.5,-96),(87.5,-96),(87.5,-91),(82.5,-91),(82.5,-86),(87.5,-86),(87.5,-81),(82.5,-81),(82.5,-76),(87.5,-76),(87.5,-71),(82.5,-71),(82.5,-66),(87.5,-66),(87.5,-61),(82.5,-61),(82.5,-56),(87.5,-56),(87.5,-51),(82.5,-51),(82.5,-46),(87.5,-46),(87.5,-42),(82.5,-42),(82.5,-31),(92.5,-31),(92.5,-126),(97,-126),(97,-121),(92.5,-121),(92.5,-116),(97,-116),(97,-111),(92.5,-111),(92.5,-106),(97,-106),(97,-101),(92.5,-101),(92.5,-96),(97,-96),(97,-91),(92.5,-91),(92.5,-86),(97,-86),(97,-81),(92.5,-81),(92.5,-76),(97,-76),(97,-71),(92.5,-71),(92.5,-66),(97,-66),(97,-61),(92.5,-61),(92.5,-56),(97,-56),(97,-51),(92.5,-51),(92.5,-46),(97,-46),(97,-42),(92.5,-42),(92.5,-31),(114,-31),(120,-25),(200,-25),(200,-105),(120,-105),(100,-125),(100,-131)])
R(ly_through_50ohm, L133_0, [(68.57,-130.11,71.43,-46.89), (88.57,-130.11,91.43,-46.89), (61.55,-130.07,62.45,-42.93), (78.05,-130.07,78.95,-42.93), (81.05,-130.07,81.95,-42.93), (97.55,-130.07,98.45,-42.93), (-31.93,-96.93,31.93,-33.07), (128.07,-96.93,191.93,-33.07), (60.73,-40.87,99.27,-32.13), (60.73,32.13,99.27,40.87), (-31.93,33.07,31.93,96.93), (128.07,33.07,191.93,96.93), (61.55,42.93,62.45,130.07), (78.05,42.93,78.95,130.07), (81.05,42.93,81.95,130.07), (97.55,42.93,98.45,130.07), (68.57,46.89,71.43,130.11), (88.57,46.89,91.43,130.11)])
P(ly_through_50ohm, L133_0, [(121.585,26.585),(121.585,103.415),(122.485,103.415),(122.485,27.485),(197.515,27.485),(197.515,102.515),(122.485,102.515),(122.485,103.415),(198.415,103.415),(198.415,26.585)],
  [(121.585,-103.415),(121.585,-26.585),(122.485,-26.585),(122.485,-102.515),(197.515,-102.515),(197.515,-27.485),(122.485,-27.485),(122.485,-26.585),(198.415,-26.585),(198.415,-103.415)],
  [(-38.415,26.585),(-38.415,103.415),(-37.515,103.415),(-37.515,27.485),(37.515,27.485),(37.515,102.515),(-37.515,102.515),(-37.515,103.415),(38.415,103.415),(38.415,26.585)],
  [(-38.415,-103.415),(-38.415,-26.585),(-37.515,-26.585),(-37.515,-102.515),(37.515,-102.515),(37.515,-27.485),(-37.515,-27.485),(-37.515,-26.585),(38.415,-26.585),(38.415,-103.415)])
P(ly_through_50ohm, L134_0, [(-20,-10.005),(-22.57,-7.435),(-22.57,7.435),(-20,10.005),(20,10.005),(22.57,7.435),(22.57,6),(137.43,6),(137.43,7.435),(140,10.005),(180,10.005),(182.57,7.435),(182.57,-7.435),(180,-10.005),(140,-10.005),(137.43,-7.435),(137.43,-6),(22.57,-6),(22.57,-7.435),(20,-10.005)],
  [(-40,25),(-40,105),(40,105),(60,125),(60,131),(63,131),(63,42),(67.5,42),(67.5,46),(63,46),(63,51),(67.5,51),(67.5,56),(63,56),(63,61),(67.5,61),(67.5,66),(63,66),(63,71),(67.5,71),(67.5,76),(63,76),(63,81),(67.5,81),(67.5,86),(63,86),(63,91),(67.5,91),(67.5,96),(63,96),(63,101),(67.5,101),(67.5,106),(63,106),(63,111),(67.5,111),(67.5,116),(63,116),(63,121),(67.5,121),(67.5,126),(63,126),(63,131),(72.5,131),(72.5,42),(77.5,42),(77.5,46),(72.5,46),(72.5,51),(77.5,51),(77.5,56),(72.5,56),(72.5,61),(77.5,61),(77.5,66),(72.5,66),(72.5,71),(77.5,71),(77.5,76),(72.5,76),(72.5,81),(77.5,81),(77.5,86),(72.5,86),(72.5,91),(77.5,91),(77.5,96),(72.5,96),(72.5,101),(77.5,101),(77.5,106),(72.5,106),(72.5,111),(77.5,111),(77.5,116),(72.5,116),(72.5,121),(77.5,121),(77.5,126),(72.5,126),(72.5,131),(82.5,131),(82.5,42),(87.5,42),(87.5,46),(82.5,46),(82.5,51),(87.5,51),(87.5,56),(82.5,56),(82.5,61),(87.5,61),(87.5,66),(82.5,66),(82.5,71),(87.5,71),(87.5,76),(82.5,76),(82.5,81),(87.5,81),(87.5,86),(82.5,86),(82.5,91),(87.5,91),(87.5,96),(82.5,96),(82.5,101),(87.5,101),(87.5,106),(82.5,106),(82.5,111),(87.5,111),(87.5,116),(82.5,116),(82.5,121),(87.5,121),(87.5,126),(82.5,126),(82.5,131),(92.5,131),(92.5,42),(97,42),(97,46),(92.5,46),(92.5,51),(97,51),(97,56),(92.5,56),(92.5,61),(97,61),(97,66),(92.5,66),(92.5,71),(97,71),(97,76),(92.5,76),(92.5,81),(97,81),(97,86),(92.5,86),(92.5,91),(97,91),(97,96),(92.5,96),(92.5,101),(97,101),(97,106),(92.5,106),(92.5,111),(97,111),(97,116),(92.5,116),(92.5,121),(97,121),(97,126),(92.5,126),(92.5,131),(100,131),(100,125),(120,105),(200,105),(200,25),(120,25),(114,31),(46,31),(40,25)],
  [(60,-131),(60,-125),(40,-105),(-40,-105),(-40,-25),(40,-25),(46,-31),(63,-31),(63,-126),(67.5,-126),(67.5,-121),(63,-121),(63,-116),(67.5,-116),(67.5,-111),(63,-111),(63,-106),(67.5,-106),(67.5,-101),(63,-101),(63,-96),(67.5,-96),(67.5,-91),(63,-91),(63,-86),(67.5,-86),(67.5,-81),(63,-81),(63,-76),(67.5,-76),(67.5,-71),(63,-71),(63,-66),(67.5,-66),(67.5,-61),(63,-61),(63,-56),(67.5,-56),(67.5,-51),(63,-51),(63,-46),(67.5,-46),(67.5,-42),(63,-42),(63,-31),(72.5,-31),(72.5,-126),(77.5,-126),(77.5,-121),(72.5,-121),(72.5,-116),(77.5,-116),(77.5,-111),(72.5,-111),(72.5,-106),(77.5,-106),(77.5,-101),(72.5,-101),(72.5,-96),(77.5,-96),(77.5,-91),(72.5,-91),(72.5,-86),(77.5,-86),(77.5,-81),(72.5,-81),(72.5,-76),(77.5,-76),(77.5,-71),(72.5,-71),(72.5,-66),(77.5,-66),(77.5,-61),(72.5,-61),(72.5,-56),(77.5,-56),(77.5,-51),(72.5,-51),(72.5,-46),(77.5,-46),(77.5,-42),(72.5,-42),(72.5,-31),(82.5,-31),(82.5,-126),(87.5,-126),(87.5,-121),(82.5,-121),(82.5,-116),(87.5,-116),(87.5,-111),(82.5,-111),(82.5,-106),(87.5,-106),(87.5,-101),(82.5,-101),(82.5,-96),(87.5,-96),(87.5,-91),(82.5,-91),(82.5,-86),(87.5,-86),(87.5,-81),(82.5,-81),(82.5,-76),(87.5,-76),(87.5,-71),(82.5,-71),(82.5,-66),(87.5,-66),(87.5,-61),(82.5,-61),(82.5,-56),(87.5,-56),(87.5,-51),(82.5,-51),(82.5,-46),(87.5,-46),(87.5,-42),(82.5,-42),(82.5,-31),(92.5,-31),(92.5,-126),(97,-126),(97,-121),(92.5,-121),(92.5,-116),(97,-116),(97,-111),(92.5,-111),(92.5,-106),(97,-106),(97,-101),(92.5,-101),(92.5,-96),(97,-96),(97,-91),(92.5,-91),(92.5,-86),(97,-86),(97,-81),(92.5,-81),(92.5,-76),(97,-76),(97,-71),(92.5,-71),(92.5,-66),(97,-66),(97,-61),(92.5,-61),(92.5,-56),(97,-56),(97,-51),(92.5,-51),(92.5,-46),(97,-46),(97,-42),(92.5,-42),(92.5,-31),(114,-31),(120,-25),(200,-25),(200,-105),(120,-105),(100,-125),(100,-131)])
R(ly_through_50ohm, L201_0, [(-4.41,10.005,4.82,25)])
R(ly_through_50ohm, L202_0, [(-4.41,-25,4.9,-10.005)])
R(ly_through_50ohm, L203_0, [(156.95,10.005,166.18,25)])
R(ly_through_50ohm, L204_0, [(156.95,-25,166.26,-10.005)])

lib.write_gds('ly_through_50ohm.gds')
